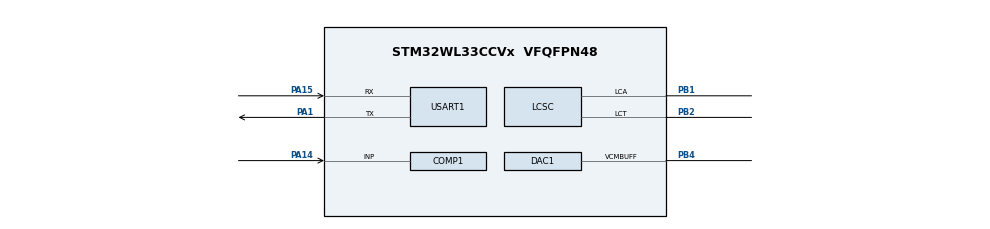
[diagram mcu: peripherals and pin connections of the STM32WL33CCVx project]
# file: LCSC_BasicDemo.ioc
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COMP1.Hysteresis=COMP_HYSTERESIS_MEDIUM
LCSC.ClockWiseTarget=0x1
LCSC.DampingThresholdLCAB=0x48
LCSC.DampingThresholdLCT=0x1
LCSC.InterCaptureTime=0x0
LCSC.PulseLCAB=0xf
LCSC.PulseLCT=0xf
LCSC.VCMBuff_RecoveryTime=0xa
LCSC.VCMBuff_StartingTime=0x20
LCSC.antiClockWiseTarget=0x1
LCSC.captureTime=0x9
LCSC.maximumBound=0x0
LCSC.measurementInterval=0x1
LCSC.measurementTime=0x05C
LCSC.minimumBound=0x0
Mcu.Family=STM32WL3
Mcu.Name=STM32WL33CCVx
Mcu.Package=VFQFPN48
NVIC.LCSC_IRQn=true\:2\:0\:true\:false\:true\:true\:true\:true
NVIC.LCSC_LC_ACTIVITY_IRQn=true\:2\:0\:true\:false\:true\:true\:true\:true
OSCIN.Mode=HSE-External-Oscillator
OSCIN.Signal=RCC_OSC_IN
OSCOUT.Mode=HSE-External-Oscillator
OSCOUT.Signal=RCC_OSC_OUT
PA1.Mode=Asynchronous
PA1.Signal=USART1_TX
PA14.Signal=SharedAnalog_PA14
PA15.Mode=Asynchronous
PA15.Signal=USART1_RX
PB1.Mode=LCA_Activate
PB1.Signal=LCSC_LCA
PB2.Mode=LCT_Activate
PB2.Signal=LCSC_LCT
PB4.Mode=VCMBUFF_Activate
PB4.Signal=DAC1_VCMBUFF
PWR.pwrPrivilege=PWR_PRIVILEGE_NO
ProjectManager.HeapSize=0x0000
ProjectManager.StackSize=0xC00
ProjectManager.TargetToolchain=EWARM V8
RCC.CLK_SPMS_KRM_DIV=12
RCC.ClkKRMSource=CLK_SPMS_KRM
RCC.HSE_VALUE=48000000
RCC.HSI_VALUE=64000000
RCC.LSE_VALUE=32768
RCC.RC64MPLLSource=RCC_LSCOSOURCE_PLL64
RCC.RTCClockSelection=RCC_RTC_WDG_SUBG_LPAWUR_LCD_LCSC_CLKSOURCE_DIV512
SH.SharedAnalog_PA14.0=COMP1_INP,INP
SH.SharedAnalog_PA14.1=LCSC_LCB,LCA_Activate
USART1.Parity=PARITY_ODD
USART1.VirtualMode-Asynchronous=VM_ASYNC
VP_COMP1_VS_DACOUT1.Mode=INM_DACOUT1
VP_DAC1_VS_DACI1.Mode=DAC_OUT1_Int
VP_LCSC_VS_LCSC.Mode=LCSC_Activate
VP_PWR_VS_SECSignals.Mode=Security/Privilege
board=custom

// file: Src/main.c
/* USER CODE BEGIN Header */
/**
  ******************************************************************************
  * @file    Examples/LCSC/LCSC_BasicDemo/Src/main.c
  * @author  MCD Application Team
  * @brief   This example describes how to use a LCSC peripheral.
  *          This example is based on the STM32WL3x LCSC HAL API.
  ******************************************************************************
  * @attention
  *
  * Copyright (c) 2024 STMicroelectronics.
  * All rights reserved.
  *
  * This software is licensed under terms that can be found in the LICENSE file
  * in the root directory of this software component.
  * If no LICENSE file comes with this software, it is provided AS-IS.
  *
  ******************************************************************************
  */
/* USER CODE END Header */
#include "main.h"

/* USER CODE BEGIN Includes */
static volatile uint32_t lcscFlagCounter_ClockWiseDetect = 0;
static volatile uint32_t lcscFlagCounter_AntiClockWiseDetect = 0;
static volatile uint32_t lcscFlagCounter_TamperDetect = 0;
static volatile uint32_t lcscFlagCounter_OutOfBoundDetect = 0;
static volatile uint32_t lcscFlagCounter_FallingEdgeDetect = 0;
static volatile uint32_t lcscFlagCounter_RisingEdgeDetect = 0;

static volatile int8_t show_update = 0;
static volatile int8_t calibration_value = 0;
static volatile uint32_t slow_clock_period = 0;
/* USER CODE END Includes */

void SystemClock_Config(void);
void PeriphCommonClock_Config(void);
static void MX_GPIO_Init(void);
static void MX_COMP1_Init(void);
static void MX_DAC1_Init(void);
static void MX_LCSC_Init(void);
static void MX_USART1_UART_Init(void);
/* USER CODE BEGIN PFP */
void LCSC_InitCal(void);

#if defined(__ICCARM__)
__ATTRIBUTES size_t __write(int, const unsigned char *, size_t);
#endif /* __ICCARM__ */

#if defined(__ICCARM__)
/* New definition from EWARM V9, compatible with EWARM8 */
int iar_fputc(int ch);
#define PUTCHAR_PROTOTYPE int iar_fputc(int ch)
#elif defined ( __CC_ARM ) || defined(__ARMCC_VERSION)
/* ARM Compiler 5/6*/
#define PUTCHAR_PROTOTYPE int fputc(int ch, FILE *f)
#elif defined(__GNUC__)
#define PUTCHAR_PROTOTYPE int __io_putchar(int ch)
#endif /* __ICCARM__ */
/* USER CODE END PFP */

int main(void)
{

  /* MCU Configuration--------------------------------------------------------*/

  /* Reset of all peripherals, Initializes the Flash interface and the Systick. */
  LL_APB0_GRP1_EnableClock(LL_APB0_GRP1_PERIPH_SYSCFG);

  /* SysTick_IRQn interrupt configuration */
  NVIC_SetPriority(SysTick_IRQn, 3);

  /* Configure the system clock */
  SystemClock_Config();

  /* Configure the peripherals common clocks */
  PeriphCommonClock_Config();

  /* Initialize all configured peripherals */
  MX_GPIO_Init();
  MX_COMP1_Init();
  MX_DAC1_Init();
  MX_LCSC_Init();
  MX_USART1_UART_Init();
  /* USER CODE BEGIN 2 */

  /* Initial calibration of the LCSC */
  LCSC_InitCal();

  /* Enable LCSC */
  LL_LCSC_Enable(LCSC);

  /* USER CODE END 2 */

  /* Infinite loop */
  /* USER CODE BEGIN WHILE */
  while (1)
  {
    if(show_update == 1)
    {
      uint32_t cw = lcscFlagCounter_ClockWiseDetect;
      uint32_t aw = lcscFlagCounter_AntiClockWiseDetect;
      printf("Clockwise revolutions = %08d, Counterclockwise revolutions = %08d\n\r", cw, aw);
      show_update = 0;
    }

    if(calibration_value)
    {
      LL_LCSC_SetDampingThreshold_LCAB(LCSC, LL_LCSC_GetDampingThreshold_LCAB(LCSC) + calibration_value);
      LL_LCSC_SetMax_CounterOutOfBound(LCSC, LL_LCSC_GetMax_CounterOutOfBound(LCSC) + calibration_value);
      LL_LCSC_SetMin_CounterOutOfBound(LCSC, LL_LCSC_GetMin_CounterOutOfBound(LCSC) + calibration_value);
      LL_LCSC_SetDampingThreshold_LCT(LCSC, LL_LCSC_GetDampingThreshold_LCT(LCSC) + calibration_value);
      calibration_value = 0;
    }
    /* USER CODE END WHILE */

  }
}

void SystemClock_Config(void)
{

   /* Set HSE Capacitor Tuning */
  LL_RCC_HSE_SetCapacitorTuning(CFG_HW_RCC_HSE_CAPACITOR_TUNE);

   /* Set HSE startup Current */
 LL_RCC_HSE_SetStartupCurrent(0);

   /* Set HSE Amplitude Threshold */
 LL_RCC_HSE_SetAmplitudeThreshold(0);

   /* Set HSE Current Control */
  LL_RCC_HSE_SetCurrentControl(40);

   /* Enable the HSE */
  LL_RCC_HSE_Enable();

   /* Wait till HSE is ready */
  while(LL_RCC_HSE_IsReady() != 1)
  {
  }

  LL_FLASH_SetLatency(LL_FLASH_WAIT_STATES_1);

   /* Enable the RC64MPLL*/
  LL_RCC_RC64MPLL_Enable();

   /* Wait till RC64MPLL is ready */
  while(LL_RCC_RC64MPLL_IsReady() != 1)
  {
  }

  LL_RCC_SetRC64MPLLPrescaler(LL_RCC_RC64MPLL_DIV_1);

   /* Update the SystemCoreClock global variable */
  LL_SetSystemCoreClock(64000000);

   /* Configure the source of time base considering new system clocks settings*/
  LL_Init1msTick(64000000);
}

void PeriphCommonClock_Config(void)
{
  LL_RCC_SetSMPSPrescaler(LL_RCC_SMPS_DIV_2);

   /* Enable the KRM*/
  LL_RCC_KRM_Enable();
  LL_RCC_KRM_SetRateMultiplier(12);
}

static void MX_COMP1_Init(void)
{

  LL_COMP_InitTypeDef COMP_InitStruct = {0};

  LL_GPIO_InitTypeDef GPIO_InitStruct = {0};

  /* Peripheral clock enable */
  LL_APB0_GRP1_EnableClock(LL_APB0_GRP1_PERIPH_COMP);

  LL_AHB1_GRP1_EnableClock(LL_AHB1_GRP1_PERIPH_GPIOA);
  /**COMP1 GPIO Configuration
  PA14   ------> COMP1_INP
  */
  GPIO_InitStruct.Pin = LL_GPIO_PIN_14;
  GPIO_InitStruct.Mode = LL_GPIO_MODE_ANALOG;
  GPIO_InitStruct.Pull = LL_GPIO_PULL_NO;
  LL_GPIO_Init(GPIOA, &GPIO_InitStruct);

  COMP_InitStruct.PowerMode = LL_COMP_POWERMODE_HIGHSPEED;
  COMP_InitStruct.InputPlus = LL_COMP_INPUT_PLUS_IO1;
  COMP_InitStruct.InputMinus = LL_COMP_INPUT_MINUS_DAC1_CH1;
  COMP_InitStruct.InputHysteresis = LL_COMP_HYSTERESIS_MEDIUM;
  COMP_InitStruct.OutputPolarity = LL_COMP_OUTPUTPOL_NONINVERTED;
  COMP_InitStruct.OutputBlankingSource = LL_COMP_BLANKINGSRC_NONE;
  LL_COMP_Init(COMP1, &COMP_InitStruct);

  /* Wait loop initialization and execution */
  /* Note: Variable divided by 2 to compensate partially CPU processing cycles */
  __IO uint32_t wait_loop_index = 0;
  wait_loop_index = (LL_COMP_DELAY_VOLTAGE_SCALER_STAB_US * (SystemCoreClock / (1000000 * 2)));
  while(wait_loop_index != 0)
  {
    wait_loop_index--;
  }

}

static void MX_DAC1_Init(void)
{

  LL_DAC_InitTypeDef DAC_InitStruct = {0};

  /* Peripheral clock enable */
  LL_APB0_GRP1_EnableClock(LL_APB0_GRP1_PERIPH_DAC);

  /** DAC channel OUT1 config
  */
  DAC_InitStruct.TriggerSource = LL_DAC_TRIG_SOFTWARE;
  DAC_InitStruct.WaveAutoGeneration = LL_DAC_WAVE_AUTO_GENERATION_NONE;
  DAC_InitStruct.OutputBuffer = LL_DAC_OUTPUT_BUFFER_DISABLE;
  LL_DAC_Init(DAC1, LL_DAC_CHANNEL_1, &DAC_InitStruct);
  LL_DAC_DisableTrigger(DAC1, LL_DAC_CHANNEL_1);
  /* USER CODE BEGIN DAC1_Init 2 */

  /* Enable VCMBUFF output */
  LL_DAC_EnableVCMBufferOutput(DAC1);

  /* Configure DAC DHR register to choose DAC analog output level of DACOUT_COMPINMINUS using DAC channel data holding register */
  LL_DAC_ConvertData6RightAligned(DAC1,LL_DAC_CHANNEL_1, 0x20);

  /* DAC channel output to COMP INMINUS enable */
  LL_DAC_SetOutputConnection(DAC1,LL_DAC_CHANNEL_1,DAC_CR_CMPEN);

  /* USER CODE END DAC1_Init 2 */

}

static void MX_LCSC_Init(void)
{

  LL_GPIO_InitTypeDef GPIO_InitStruct = {0};

  LL_RCC_LSCO_SetSource(LL_RCC_LSCO_CLKSOURCE_HSI64M_DIV2048);

  /* Peripheral clock enable */
  LL_APB0_GRP1_EnableClock(LL_APB0_GRP1_PERIPH_LCSC);

  LL_AHB1_GRP1_EnableClock(LL_AHB1_GRP1_PERIPH_GPIOA);
  LL_AHB1_GRP1_EnableClock(LL_AHB1_GRP1_PERIPH_GPIOB);
  /**LCSC GPIO Configuration
  PA14   ------> LCSC_LCB
  PB1   ------> LCSC_LCA
  PB2   ------> LCSC_LCT
  */
  GPIO_InitStruct.Pin = LL_GPIO_PIN_14;
  GPIO_InitStruct.Mode = LL_GPIO_MODE_ANALOG;
  GPIO_InitStruct.Pull = LL_GPIO_PULL_NO;
  LL_GPIO_Init(GPIOA, &GPIO_InitStruct);

  GPIO_InitStruct.Pin = LL_GPIO_PIN_1|LL_GPIO_PIN_2;
  GPIO_InitStruct.Mode = LL_GPIO_MODE_ANALOG;
  GPIO_InitStruct.Pull = LL_GPIO_PULL_NO;
  LL_GPIO_Init(GPIOB, &GPIO_InitStruct);

  /* LCSC interrupt Init */
  NVIC_SetPriority(LCSC_IRQn, 2);
  NVIC_EnableIRQ(LCSC_IRQn);
  NVIC_SetPriority(LCSC_LC_ACTIVITY_IRQn, 2);
  NVIC_EnableIRQ(LCSC_LC_ACTIVITY_IRQn);

  /* USER CODE BEGIN LCSC_Init 1 */

  /* Configure PB4 as output pin */
  /* This allows to discharge residual voltage on external capacitor Cext */
  GPIO_InitStruct.Pin = LL_GPIO_PIN_4;
  GPIO_InitStruct.Mode = LL_GPIO_MODE_OUTPUT;
  GPIO_InitStruct.Speed = LL_GPIO_SPEED_FREQ_HIGH;
  GPIO_InitStruct.OutputType = LL_GPIO_OUTPUT_PUSHPULL;
  GPIO_InitStruct.Pull = LL_GPIO_PULL_NO;
  LL_GPIO_Init(GPIOB, &GPIO_InitStruct);

  /* To add a delay to discharge Cext */

  /* Configure PB4 as analog pin */
  GPIO_InitStruct.Pin = LL_GPIO_PIN_4;
  GPIO_InitStruct.Mode = LL_GPIO_MODE_ANALOG;
  GPIO_InitStruct.Speed = LL_GPIO_SPEED_FREQ_HIGH;
  GPIO_InitStruct.OutputType = LL_GPIO_OUTPUT_PUSHPULL;
  GPIO_InitStruct.Pull = LL_GPIO_PULL_NO;
  LL_GPIO_Init(GPIOB, &GPIO_InitStruct);

  /* Since APC bit is set, PUB1, PUB2, PUA14, PUB4 and PDB1, PDB2,
    PDA14, PDB4 shall be disabled */
  LL_PWR_SetNoPullB(LL_GPIO_PIN_1);
  LL_PWR_SetNoPullB(LL_GPIO_PIN_2);
  LL_PWR_SetNoPullA(LL_GPIO_PIN_14);
  LL_PWR_SetNoPullB(LL_GPIO_PIN_4);
  LL_PWR_SetNoPullB(LL_PWR_GPIO_BIT_12|LL_PWR_GPIO_BIT_13);

  /* USER CODE END LCSC_Init 1 */
  LL_LCSC_SetMeasurementTime(LCSC, 0x05C);
  LL_LCSC_SetCaptureTime(LCSC, 0x9);
  LL_LCSC_SetInterCaptureTime(LCSC, 0x0);
  LL_LCSC_Set_VCMBuff_RecoveryTime(LCSC, 0xa);
  LL_LCSC_Set_VCMBuff_StartingTime(LCSC, 0x20);
  LL_LCSC_EnableIT_LCT(LCSC);
  LL_LCSC_EnableIT_ClockWise(LCSC);
  LL_LCSC_SetClockWiseTarget(LCSC, 0x1);
  LL_LCSC_EnableIT_AntiClockWise(LCSC);
  LL_LCSC_SetAntiClockWiseTarget(LCSC, 0x1);
  LL_LCSC_EnableIT_CounterOutOfBoundWakeup(LCSC);
  LL_LCSC_SetMin_CounterOutOfBound(LCSC, 0x0);
  LL_LCSC_SetMax_CounterOutOfBound(LCSC, 0x0);
  LL_LCSC_SetDampingThreshold_LCAB(LCSC, 0x48);
  LL_LCSC_SetLowPulseWidth_LCAB(LCSC, 0xf);
  LL_LCSC_SetMeasurementInterval_LCT(LCSC, 0x1);
  LL_LCSC_SetDampingThreshold_LCT(LCSC, 0x1);
  LL_LCSC_SetLowPulseWidth_LCT(LCSC, 0xf);

}

static void MX_USART1_UART_Init(void)
{

  LL_USART_InitTypeDef USART_InitStruct = {0};

  LL_GPIO_InitTypeDef GPIO_InitStruct = {0};

  /* Peripheral clock enable */
  LL_APB1_GRP1_EnableClock(LL_APB1_GRP1_PERIPH_USART1);

  LL_AHB1_GRP1_EnableClock(LL_AHB1_GRP1_PERIPH_GPIOA);
  /**USART1 GPIO Configuration
  PA1   ------> USART1_TX
  PA15   ------> USART1_RX
  */
  GPIO_InitStruct.Pin = LL_GPIO_PIN_1|LL_GPIO_PIN_15;
  GPIO_InitStruct.Mode = LL_GPIO_MODE_ALTERNATE;
  GPIO_InitStruct.Speed = LL_GPIO_SPEED_FREQ_LOW;
  GPIO_InitStruct.OutputType = LL_GPIO_OUTPUT_PUSHPULL;
  GPIO_InitStruct.Pull = LL_GPIO_PULL_NO;
  GPIO_InitStruct.Alternate = LL_GPIO_AF_1;
  LL_GPIO_Init(GPIOA, &GPIO_InitStruct);

  USART_InitStruct.PrescalerValue = LL_USART_PRESCALER_DIV1;
  USART_InitStruct.BaudRate = 115200;
  USART_InitStruct.DataWidth = LL_USART_DATAWIDTH_8B;
  USART_InitStruct.StopBits = LL_USART_STOPBITS_1;
  USART_InitStruct.Parity = LL_USART_PARITY_ODD;
  USART_InitStruct.TransferDirection = LL_USART_DIRECTION_TX_RX;
  USART_InitStruct.HardwareFlowControl = LL_USART_HWCONTROL_NONE;
  USART_InitStruct.OverSampling = LL_USART_OVERSAMPLING_16;
  LL_USART_Init(USART1, &USART_InitStruct);
  LL_USART_SetTXFIFOThreshold(USART1, LL_USART_FIFOTHRESHOLD_1_8);
  LL_USART_SetRXFIFOThreshold(USART1, LL_USART_FIFOTHRESHOLD_1_8);
  LL_USART_DisableFIFO(USART1);
  LL_USART_ConfigAsyncMode(USART1);

  LL_USART_Enable(USART1);

  /* Polling USART1 initialisation */
  while((!(LL_USART_IsActiveFlag_TEACK(USART1))) || (!(LL_USART_IsActiveFlag_REACK(USART1))))
  {
  }

}

static void MX_GPIO_Init(void)
{

  /* GPIO Ports Clock Enable */
  LL_AHB1_GRP1_EnableClock(LL_AHB1_GRP1_PERIPH_GPIOB);
  LL_AHB1_GRP1_EnableClock(LL_AHB1_GRP1_PERIPH_GPIOA);

}

/* USER CODE BEGIN 4 */

/**
* @brief  LCSC Initial calibration
*         Variables that depend on the system: Ls value, Cs value, cnt_target
*         Goals: to set DAC_DHR value, TCAP value, TMEAS value, LCAB_DAMP_THRS value, LCT_DAMP_THRS value
* @retval None
*/
void LCSC_InitCal(void)
{
  static uint8_t tcap = 0;
  static uint32_t t_meas = 0;
  static uint8_t vcmp_tmp = 0;
  static uint8_t vcmp_start = 0x21;  /* 1 LSB over the Vbat/2 */
  static uint8_t vcmp_stop = 0x3F;   /* Maximum value for DAC_DHR */
  static uint8_t vcmp_step = 1;
  static double M_PI_VALUE = 3.14159f;   /* PI value */
  static double Ls = 470e-6;
  static double Cs = 560e-12;
  static uint32_t freqOsc;
  static uint8_t last_count = 0;
  static uint8_t cnt_target = 30;  /* Target of the oscillations count in non-metal case */
  static uint32_t f_slow_clock = 32768;
  static uint8_t lcab_damp_thrs = 0;
  static uint8_t max, min, new_damp_thres = 0;

  /* Set Tmeas to 0 in order to perform a one-shot measurement */
  LL_LCSC_SetMeasurementTime(LCSC, 0x0);

  freqOsc = (uint32_t) (1 / (2 * M_PI_VALUE * sqrt(Ls * Cs)));

  /* Capture window that contains around 100 LC oscillations */
  tcap = ((100 * f_slow_clock) / freqOsc) + 1;

  /* Set capture time starting value (in this way the cnt max is 100) */
  LL_LCSC_SetCaptureTime(LCSC, tcap);

  vcmp_tmp = vcmp_start;

  printf("Initial calibration start: expose LCA to plastic.\n\r");
  printf("The COMP threshold will be set in order to reach %d counts in plastic case.\n\r", cnt_target);

  /* This do-while cycle will set the DAC_DHR value based on the cnt_target */
  do
  {
      LL_DAC_ConvertData6RightAligned(DAC1, LL_DAC_CHANNEL_1, vcmp_tmp);
      LL_LCSC_Enable(LCSC);
      LL_mDelay(5);
      last_count = LL_LCSC_GetComparatorLastDampingCount_LCA(LCSC);
      printf("Last count: %d\n\r", last_count);
      LL_LCSC_Disable(LCSC);
      LL_mDelay(1);
      vcmp_tmp = vcmp_tmp + vcmp_step;
  }
  while ((last_count > cnt_target) && (vcmp_tmp <= vcmp_stop));

  if (vcmp_tmp == vcmp_stop)
  {
    /* Error during setting DAC threshold */
    while(1);
  }

  /* Calculate Tcap based on slow_clock_freq and cnt_target */
  /* 1 is added since a round is needed to be sure the Tcap covers the expected oscillations */
  tcap = (cnt_target * f_slow_clock / freqOsc) + 1;
  LL_LCSC_SetCaptureTime(LCSC, tcap);

  /* at this stage DAC_DHR is set, it is time to rotate clockwise the wheel for 4 rotations,
  and set LCAB_DAMP_THRES in the middle of the range */

  /* Calculate LCAB_DAMP_THRS based on a percentage of the cnt_target */
  lcab_damp_thrs = (uint8_t)(LCSC_CALIB_DAMP_THRES_FACTOR * last_count);
  LL_LCSC_SetDampingThreshold_LCAB(LCSC, lcab_damp_thrs);

  /* Restore the T_MEAS */
  t_meas = LCSC_T_SCAN_MAX /1000 * f_slow_clock /1000  - LCSC_TREC_VCM;
  LL_LCSC_SetMeasurementTime(LCSC, t_meas);
  LL_LCSC_Enable(LCSC);
  LL_LCSC_ClearFlag_CNT_OFB(LCSC);

  printf("COMP threshold set, rotate the wheel clockwise.\n\r");

  while(LL_LCSC_GetClockWise(LCSC) < 4)
  {}

  min = LL_LCSC_GetMin_Counter(LCSC);
  max = LL_LCSC_GetMax_Counter(LCSC);
  new_damp_thres = (max + min) / 2;

  LL_LCSC_SetDampingThreshold_LCAB(LCSC, new_damp_thres);

  /* Set the min and max out of bound values */
  LL_LCSC_SetMax_CounterOutOfBound(LCSC, (uint32_t)LCSC_CALIB_MAX_LCAB_CNT_BOUND_FACTOR * max);
  LL_LCSC_SetMin_CounterOutOfBound(LCSC, (uint32_t)LCSC_CALIB_MIN_LCAB_CNT_BOUND_FACTOR * min);

  /* Set LCT damp threshold as well */
  LL_LCSC_SetDampingThreshold_LCT(LCSC, new_damp_thres);

  /* Reset max and min count and clockwise count since their values are affected by the calibration procedure*/
  LL_LCSC_ClearFlag_CNT_OFB(LCSC);
  LL_LCSC_ClearFlag_CLKWISE(LCSC);

  printf("Damping threhsold set at the middle of max and min counts.\n\r");
  printf("Calibration done!\n\r");
}

void LCSC_CallbackClockWiseDetect(void)
{
  lcscFlagCounter_ClockWiseDetect += LL_LCSC_GetClockWise(LCSC);
  show_update = 1;
}

void LCSC_CallbackAntiClockWiseDetect(void)
{
  lcscFlagCounter_AntiClockWiseDetect += LL_LCSC_GetAntiClockWise(LCSC);
  show_update = 1;
}

void LCSC_CallbackTamperDetect(void)
{
  printf("Tampering detected!\n\r");
}

void LCSC_CallbackOutOfBoundDetect(void)
{
  uint8_t max = LL_LCSC_GetMax_Counter(LCSC);
  uint8_t min = LL_LCSC_GetMin_Counter(LCSC);

  if (max > LL_LCSC_GetMax_CounterOutOfBound(LCSC))
    calibration_value = max - LL_LCSC_GetMax_CounterOutOfBound(LCSC);
  else
    calibration_value = min - LL_LCSC_GetMin_CounterOutOfBound(LCSC);
}

void LCSC_CallbackFallingEdgeLCDetect(void)
{
  lcscFlagCounter_FallingEdgeDetect++;
  show_update = 1;
}

void LCSC_CallbackRisingEdgeLCDetect(void)
{
  lcscFlagCounter_RisingEdgeDetect++;
  show_update = 1;
}

/**
  * @brief  Retargets the C library printf function to the USART.
  * @param  None
  * @retval None
  */
PUTCHAR_PROTOTYPE
{
  /* Place your implementation of fputc here */
  /* e.g. write a character to the USART1 and Loop until the end of transmission */
  while (!LL_USART_IsActiveFlag_TXE(USART1))
  {
  }

    LL_USART_TransmitData8(USART1, (uint8_t)ch);

  while (!LL_USART_IsActiveFlag_TC(USART1))
  {
  }

  return ch;
}

#if defined(__ICCARM__)
size_t __write(int file, unsigned char const *ptr, size_t len)
{
  size_t idx;
  unsigned char const *pdata = ptr;

  for (idx = 0; idx < len; idx++)
  {
    iar_fputc((int)*pdata);
    pdata++;
  }
  return len;
}
#endif /* __ICCARM__ */
/* USER CODE END 4 */

void Error_Handler(void)
{
  /* USER CODE BEGIN Error_Handler_Debug */
  /* User can add his own implementation to report the HAL error return state */

  /* Turn on LED and remain in infinite loop */
  while (1)
  {
  }
  /* USER CODE END Error_Handler_Debug */
}
